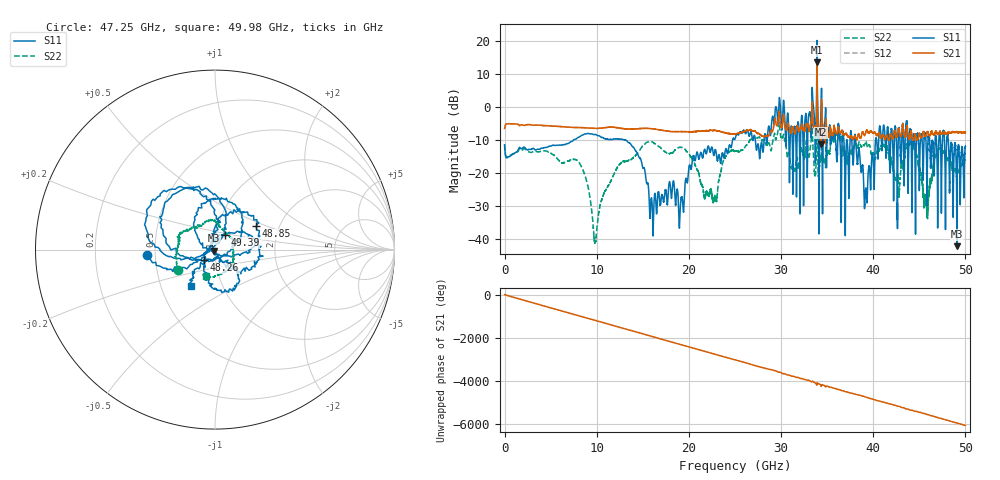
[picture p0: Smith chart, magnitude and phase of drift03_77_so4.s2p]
!Created with skrf (http://scikit-rf.org).
# Hz S RI R 50.0
!freq ReS11 ImS11 ReS21 ImS21 ReS12 ImS12 ReS22 ImS22
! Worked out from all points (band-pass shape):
!   10001 points, 300 kHz to 50 GHz, reference 50 ohm
!   highest |S21| = 13.64 dB at 33.9 GHz (marker M1); lowest = -11.3 dB at 34.32 GHz (marker M2)
!   |S21| within 3 dB of the highest: 33.89026 GHz to 33.904 GHz (13.74 MHz wide, 0.0405 % of centre)
!   lowest |S11| = -42.2 dB at 49.08 GHz (marker M3), VSWR 1.02, Z = 49.5 - j0.61 ohm
!   |S11| at or under -10 dB: start of sweep to 7.488 GHz; 13.13 GHz to 24.74 GHz (11.61 GHz wide, 61.3 % of centre); 38.09 GHz to 40.25 GHz (2.155 GHz wide, 5.5 % of centre) (the widest 3 of 45)
!   |S22| runs from -41.3 to 6.1 dB; largest |S21 - S12| = 0.34
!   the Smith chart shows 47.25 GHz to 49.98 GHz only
!   S11 on the Smith chart (normalised r, x): 47.25 GHz: 0.45, -0.03; 48.26 GHz: 0.88, -0.10; 48.85 GHz: 1.52, +0.43; 49.39 GHz: 1.10, +0.18; 49.98 GHz: 0.71, -0.30
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300000  -0.238 -0.1251  0.4666 0.0826  0.4677 0.0821  -0.2368 -0.1294
1.440291e9  0.21 0.0648  -0.5478 -0.0295  -0.5485 -0.0293  0.2116 -0.00383
2.915283e9  -0.2123 -0.0882  0.5343 0.0518  0.5347 0.0516  -0.2017 0.0402
4.415274e9  0.2056 0.1326  -0.5217 -0.0426  -0.5217 -0.0425  0.1988 -0.0873
8.33525e9  0.2889 -0.2333  0.1458 0.4666  0.1454 0.4666  -0.0724 -0.1016
9.840241e9  -0.3652 0.1252  -0.1427 -0.4543  -0.1427 -0.4545  0.00888 0.00221
1.66702e10  0.0268 0.0429  -0.3786 0.2531  -0.3796 0.2525  -0.1289 -0.2208
2.500015e10  -0.3266 -0.0156  -0.2546 -0.2981  -0.2532 -0.3003  -0.2117 0.0276
2.895013e10  -0.324 0.4221  -0.2939 0.3233  -0.3057 0.2865  0.0615 0.2216
3.006512e10  0.4018 0.2671  0.4517 -0.1958  0.4556 -0.181  0.1776 -0.2961
3.171011e10  -0.0903 0.1871  -0.3639 0.3545  -0.3659 0.3546  0.0658 0.1595
3.33351e10  0.6518 -0.7905  0.2726 -0.8441  0.2736 -0.8284  -0.1834 -0.4342
3.38951e10  -2.248 -10.02  -4.759 0.7052  -4.464 0.8797  0.4605 1.966
3.432009e10  -0.7784 -0.0028  -0.1821 0.2013  -0.2435 0.1795  0.143 -0.0758
4.167005e10  -0.2074 0.2993  0.3158 0.00252  0.3157 0.00939  -0.1911 -0.0101
4.724502e10  -0.3803 -0.0277  0.2986 0.3093  0.2977 0.3123  -0.2062 -0.116
4.825501e10  -0.0611 -0.0589  0.0987 -0.3939  0.0976 -0.4001  -0.0132 0.1636
4.884501e10  0.2294 0.1306  -0.3667 -0.2028  -0.3672 -0.2011  0.0978 0.0527
4.907501e10  -0.00473 -0.00616  -0.4217 -0.0174  -0.4221 -0.0209  0.0967 0.0161
4.939e10  0.0551 0.0826  -0.3403 0.2369  -0.3397 0.2377  0.1012 -0.0619
4.998e10  -0.1312 -0.2008  0.1208 0.3946  0.1232 0.3919  -0.0481 -0.1487
5e10  -0.1196 -0.2254  0.1404 0.3862  0.1378 0.3855  -0.0517 -0.1464
